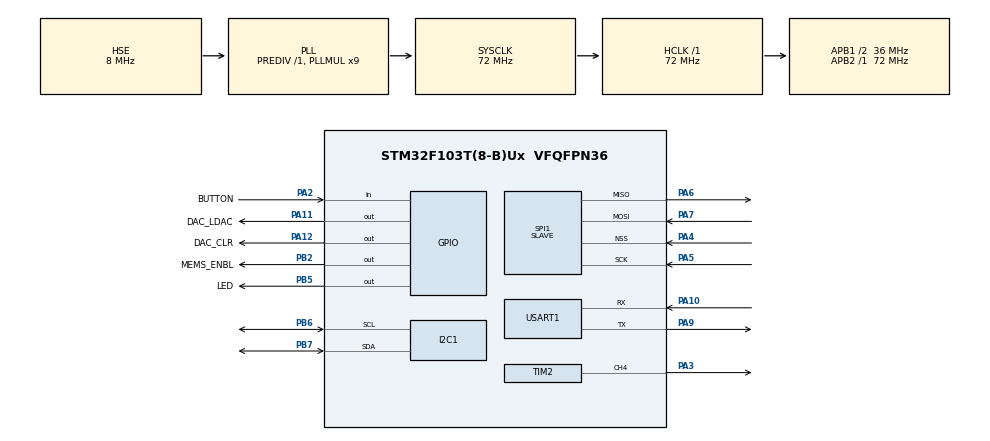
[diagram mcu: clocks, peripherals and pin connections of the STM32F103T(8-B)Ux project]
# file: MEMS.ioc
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Mcu.Family=STM32F1
Mcu.Name=STM32F103T(8-B)Ux
Mcu.Package=VFQFPN36
NVIC.PriorityGroup=NVIC_PRIORITYGROUP_4
NVIC.TIM3_IRQn=true\:0\:0\:false\:false\:true\:true\:true\:true
PA10.Mode=Asynchronous
PA10.Signal=USART1_RX
PA11.GPIO_Label=DAC_LDAC
PA11.Signal=GPIO_Output
PA12.GPIO_Label=DAC_CLR
PA12.Signal=GPIO_Output
PA13.Mode=JTAG_5_pins
PA13.Signal=SYS_JTMS-SWDIO
PA14.Mode=JTAG_5_pins
PA14.Signal=SYS_JTCK-SWCLK
PA15.Mode=JTAG_5_pins
PA15.Signal=SYS_JTDI
PA2.GPIO_Label=BUTTON
PA2.Signal=GPIO_Input
PA3.Signal=S_TIM2_CH4
PA4.Mode=NSS_Signal_Hard_Input
PA4.Signal=SPI1_NSS
PA5.Mode=Full_Duplex_Slave
PA5.Signal=SPI1_SCK
PA6.Mode=Full_Duplex_Slave
PA6.Signal=SPI1_MISO
PA7.Mode=Full_Duplex_Slave
PA7.Signal=SPI1_MOSI
PA9.Mode=Asynchronous
PA9.Signal=USART1_TX
PB2.GPIO_Label=MEMS_ENBL
PB2.Signal=GPIO_Output
PB3.Mode=JTAG_5_pins
PB3.Signal=SYS_JTDO-TRACESWO
PB4.Mode=JTAG_5_pins
PB4.Signal=SYS_NJTRST
PB5.GPIO_Label=LED
PB5.Signal=GPIO_Output
PB6.Mode=I2C
PB6.Signal=I2C1_SCL
PB7.Mode=I2C
PB7.Signal=I2C1_SDA
PD0-OSC_IN.Mode=HSE-External-Oscillator
PD0-OSC_IN.Signal=RCC_OSC_IN
PD1-OSC_OUT.Mode=HSE-External-Oscillator
PD1-OSC_OUT.Signal=RCC_OSC_OUT
ProjectManager.HeapSize=0x200
ProjectManager.StackSize=0x400
ProjectManager.TargetToolchain=SW4STM32
RCC.AHBFreq_Value=72000000
RCC.APB1CLKDivider=RCC_HCLK_DIV2
RCC.APB1Freq_Value=36000000
RCC.APB1TimFreq_Value=72000000
RCC.APB2Freq_Value=72000000
RCC.APB2TimFreq_Value=72000000
RCC.HCLKFreq_Value=72000000
RCC.PLLMUL=RCC_PLL_MUL9
RCC.PLLSourceVirtual=RCC_PLLSOURCE_HSE
RCC.SYSCLKFreq_VALUE=72000000
RCC.SYSCLKSource=RCC_SYSCLKSOURCE_PLLCLK
RCC.USBFreq_Value=72000000
SH.S_TIM2_CH4.0=TIM2_CH4,PWM Generation4 CH4
SPI1.Direction=SPI_DIRECTION_2LINES
SPI1.Mode=SPI_MODE_SLAVE
SPI1.VirtualNSS=VM_NSSHARD
SPI1.VirtualType=VM_SLAVE
TIM2.AutoReloadPreload=TIM_AUTORELOAD_PRELOAD_ENABLE
TIM2.Channel-PWM\ Generation4\ CH4=TIM_CHANNEL_4
TIM2.Period=10000-1
TIM3.AutoReloadPreload=TIM_AUTORELOAD_PRELOAD_ENABLE
TIM3.Channel-PWM\ Generation4\ CH4=TIM_CHANNEL_4
TIM3.Period=1125-1
TIM3.Prescaler=128-1
USART1.VirtualMode=VM_ASYNC
VP_TIM2_VS_ClockSourceINT.Mode=Internal
VP_TIM3_VS_ClockSourceINT.Mode=Internal
board=custom

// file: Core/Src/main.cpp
/* USER CODE BEGIN Header */
/**
 ******************************************************************************
 * @file           : main.c
 * @brief          : Main program body
 ******************************************************************************
 * @attention
 *
 * Copyright (c) 2023 STMicroelectronics.
 * All rights reserved.
 *
 * This software is licensed under terms that can be found in the LICENSE file
 * in the root directory of this software component.
 * If no LICENSE file comes with this software, it is provided AS-IS.
 *
 ******************************************************************************
 */
/* USER CODE END Header */
#include "main.h"
#include "gpio.h"
#include "i2c.h"
#include "spi.h"
#include "tim.h"
#include "usart.h"

/* USER CODE BEGIN Includes */
#include "MirrorcleMems.hpp"
#include <AD5667.hpp>
#include <GPIO.hpp>
#include <Timer.hpp>
#include <cstdio>
#include <etl/math_constants.h>
#include <retarget.h>
/* USER CODE END Includes */

/* USER CODE BEGIN PV */

Timer updateLoopTimer(&htim3);

MirrorcleMEMS mirrorcleMems({MEMS_ENBL_GPIO_Port, MEMS_ENBL_Pin},
                            {&htim2, TIM_CHANNEL_4},
                            {&hi2c1,
                             {DAC_CLR_GPIO_Port, DAC_CLR_Pin},
                             {DAC_LDAC_GPIO_Port, DAC_LDAC_Pin},
                             0x0F});

GPIO LED_GPIO(LED_GPIO_Port, LED_Pin);

/* USER CODE END PV */

void SystemClock_Config(void);

int main(void) {

  /* MCU Configuration--------------------------------------------------------*/

  /* Reset of all peripherals, Initializes the Flash interface and the Systick.
   */
  HAL_Init();

  /* Configure the system clock */
  SystemClock_Config();

  /* Initialize all configured peripherals */
  MX_GPIO_Init();
  MX_I2C1_Init();
  MX_SPI1_Init();
  MX_USART1_UART_Init();
  MX_TIM2_Init();
  MX_TIM3_Init();
  /* USER CODE BEGIN 2 */
  RetargetInit(&huart1);
  mirrorcleMems.start();
//  mirrorcleMems.foo();
//  mirrorcleMems.writeAxisSignal(MirrorcleMEMS::AXIS::Y, 0.5);
//  mirrorcleMems.writeAxisSignal(MirrorcleMEMS::AXIS::X, 0.5);
  mirrorcleMems.ad5667_.sendSignal(AD5667::COMMAND::WRITE_UPDATE_ALL, AD5667::CHANNEL::A, 0.5);
  mirrorcleMems.ad5667_.sendSignal(AD5667::COMMAND::WRITE_UPDATE_ALL, AD5667::CHANNEL::B, 0.5);

  updateLoopTimer.startTimer();
  /* USER CODE END 2 */

  /* Infinite loop */
  /* USER CODE BEGIN WHILE */
  scalar x = 0;
  constexpr scalar dx = 0.05;
  while (1) {
//    LED_GPIO.toggle();
//    mirrorcleMems.writeAxisSignal(MirrorcleMEMS::AXIS::X, x);
//    mirrorcleMems.writeAxisSignal(MirrorcleMEMS::AXIS::Y, 0);
//    mirrorcleMems.ad5667_.LDAC_GPIO().toggle();
    mirrorcleMems.ad5667_.sendSignal(AD5667::COMMAND::WRITE_UPDATE_ALL, AD5667::CHANNEL::B, x);
    x += dx;
    x = (x > 1) ? (x - 1) : x;
//        printf("Toggle!\n");
    HAL_Delay(200);
    /* USER CODE END WHILE */

  }
}

void SystemClock_Config(void) {
  RCC_OscInitTypeDef RCC_OscInitStruct = {0};
  RCC_ClkInitTypeDef RCC_ClkInitStruct = {0};

  /** Initializes the RCC Oscillators according to the specified parameters
   * in the RCC_OscInitTypeDef structure.
   */
  RCC_OscInitStruct.OscillatorType = RCC_OSCILLATORTYPE_HSE;
  RCC_OscInitStruct.HSEState = RCC_HSE_ON;
  RCC_OscInitStruct.HSEPredivValue = RCC_HSE_PREDIV_DIV1;
  RCC_OscInitStruct.HSIState = RCC_HSI_ON;
  RCC_OscInitStruct.PLL.PLLState = RCC_PLL_ON;
  RCC_OscInitStruct.PLL.PLLSource = RCC_PLLSOURCE_HSE;
  RCC_OscInitStruct.PLL.PLLMUL = RCC_PLL_MUL9;
  if (HAL_RCC_OscConfig(&RCC_OscInitStruct) != HAL_OK) {
    Error_Handler();
  }

  /** Initializes the CPU, AHB and APB buses clocks
   */
  RCC_ClkInitStruct.ClockType = RCC_CLOCKTYPE_HCLK | RCC_CLOCKTYPE_SYSCLK |
                                RCC_CLOCKTYPE_PCLK1 | RCC_CLOCKTYPE_PCLK2;
  RCC_ClkInitStruct.SYSCLKSource = RCC_SYSCLKSOURCE_PLLCLK;
  RCC_ClkInitStruct.AHBCLKDivider = RCC_SYSCLK_DIV1;
  RCC_ClkInitStruct.APB1CLKDivider = RCC_HCLK_DIV2;
  RCC_ClkInitStruct.APB2CLKDivider = RCC_HCLK_DIV1;

  if (HAL_RCC_ClockConfig(&RCC_ClkInitStruct, FLASH_LATENCY_2) != HAL_OK) {
    Error_Handler();
  }
}

/* USER CODE BEGIN 4 */
void HAL_TIM_PeriodElapsedCallback(TIM_HandleTypeDef *htim) {
  if (htim == updateLoopTimer) {
    //    static indexType i;
    //    static scalar dt = 1 / updateLoopTimer.updateFrequency();
    //    constexpr static scalar amplitude = 0.2;
    //    constexpr static scalar period = 1;
    //    constexpr static scalar omega =
    //        2 * etl::private_math_constants::math_helper<scalar>::pi / period;
    //    scalar phase = omega * i * dt;
    //    phase = (phase>360)?(phase-360):phase;
    //    printf("%f\n",phase);
    //    mirrorcleMems.writeAxisSignal(MirrorcleMEMS::AXIS::X,
    //                                           amplitude * cos(phase));
//        mirrorcleMems.writeAxisSignal(MirrorcleMEMS::AXIS::X,
    //                                  amplitude * sin(phase));
    //    i++;
  }
}
/* USER CODE END 4 */

void Error_Handler(void) {
  __disable_irq();
  while (1) {
  }
}

#ifdef USE_FULL_ASSERT
/**
 * @brief  Reports the name of the source file and the source line number
 *         where the assert_param error has occurred.
 * @param  file: pointer to the source file name
 * @param  line: assert_param error line source number
 * @retval None
 */
void assert_failed(uint8_t *file, uint32_t line) {
  /* USER CODE BEGIN 6 */
  /* User can add his own implementation to report the file name and line
     number,
     ex: printf("Wrong parameters value: file %s on line %d\r\n", file, line) */
  /* USER CODE END 6 */
}
#endif /* USE_FULL_ASSERT */
